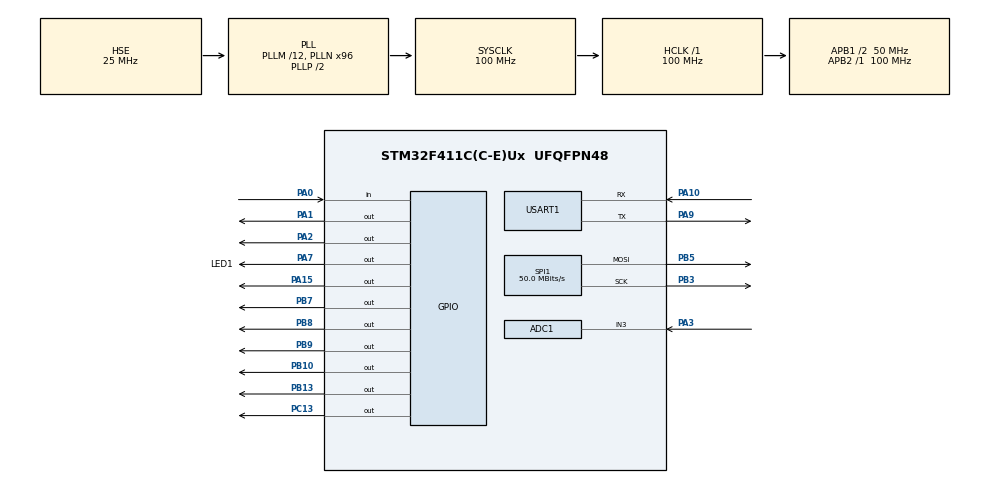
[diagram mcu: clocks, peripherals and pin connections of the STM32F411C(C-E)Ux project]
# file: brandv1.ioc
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ADC1.Channel-0\#ChannelRegularConversion=ADC_CHANNEL_3
ADC1.NbrOfConversionFlag=1
ADC1.Rank-0\#ChannelRegularConversion=1
ADC1.SamplingTime-0\#ChannelRegularConversion=ADC_SAMPLETIME_3CYCLES
ADC1.master=1
Mcu.Family=STM32F4
Mcu.Name=STM32F411C(C-E)Ux
Mcu.Package=UFQFPN48
NVIC.PriorityGroup=NVIC_PRIORITYGROUP_2
NVIC.TIM1_BRK_TIM9_IRQn=true\:2\:0\:true\:false\:true\:true\:true\:true
NVIC.USART1_IRQn=true\:2\:2\:true\:false\:true\:true\:true\:true
PA0-WKUP.GPIO_PuPd=GPIO_NOPULL
PA0-WKUP.Signal=GPIO_Input
PA1.GPIO_ModeDefaultOutputPP=GPIO_MODE_OUTPUT_OD
PA1.GPIO_PuPd=GPIO_NOPULL
PA1.PinState=GPIO_PIN_SET
PA1.Signal=GPIO_Output
PA10.Mode=Asynchronous
PA10.Signal=USART1_RX
PA13.Mode=Serial_Wire
PA13.Signal=SYS_JTMS-SWDIO
PA14.Mode=Serial_Wire
PA14.Signal=SYS_JTCK-SWCLK
PA15.PinState=GPIO_PIN_SET
PA15.Signal=GPIO_Output
PA2.GPIO_ModeDefaultOutputPP=GPIO_MODE_OUTPUT_OD
PA2.GPIO_PuPd=GPIO_NOPULL
PA2.PinState=GPIO_PIN_SET
PA2.Signal=GPIO_Output
PA3.Signal=ADCx_IN3
PA7.GPIO_Label=LED1
PA7.PinState=GPIO_PIN_SET
PA7.Signal=GPIO_Output
PA9.Mode=Asynchronous
PA9.Signal=USART1_TX
PB10.Signal=GPIO_Output
PB13.PinState=GPIO_PIN_SET
PB13.Signal=GPIO_Output
PB3.Mode=TX_Only_Simplex_Unidirect_Master
PB3.Signal=SPI1_SCK
PB5.Mode=TX_Only_Simplex_Unidirect_Master
PB5.Signal=SPI1_MOSI
PB7.PinState=GPIO_PIN_SET
PB7.Signal=GPIO_Output
PB8.GPIO_ModeDefaultOutputPP=GPIO_MODE_OUTPUT_OD
PB8.GPIO_PuPd=GPIO_NOPULL
PB8.PinState=GPIO_PIN_SET
PB8.Signal=GPIO_Output
PB9.GPIO_ModeDefaultOutputPP=GPIO_MODE_OUTPUT_OD
PB9.GPIO_PuPd=GPIO_NOPULL
PB9.PinState=GPIO_PIN_SET
PB9.Signal=GPIO_Output
PC13-ANTI_TAMP.PinState=GPIO_PIN_SET
PC13-ANTI_TAMP.Signal=GPIO_Output
PC14-OSC32_IN.Mode=LSE-External-Oscillator
PC14-OSC32_IN.Signal=RCC_OSC32_IN
PC15-OSC32_OUT.Mode=LSE-External-Oscillator
PC15-OSC32_OUT.Signal=RCC_OSC32_OUT
PH0\ -\ OSC_IN.Mode=HSE-External-Oscillator
PH0\ -\ OSC_IN.Signal=RCC_OSC_IN
PH1\ -\ OSC_OUT.Mode=HSE-External-Oscillator
PH1\ -\ OSC_OUT.Signal=RCC_OSC_OUT
ProjectManager.HeapSize=0x200
ProjectManager.StackSize=0x400
ProjectManager.TargetToolchain=MDK-ARM V5.32
RCC.48MHZClocksFreq_Value=50000000
RCC.AHBFreq_Value=100000000
RCC.APB1CLKDivider=RCC_HCLK_DIV2
RCC.APB1Freq_Value=50000000
RCC.APB1TimFreq_Value=100000000
RCC.APB2Freq_Value=100000000
RCC.APB2TimFreq_Value=100000000
RCC.CortexFreq_Value=100000000
RCC.HCLKFreq_Value=100000000
RCC.HSE_VALUE=25000000
RCC.HSI_VALUE=16000000
RCC.PLLM=12
RCC.PLLN=96
RCC.PLLSourceVirtual=RCC_PLLSOURCE_HSE
RCC.RCC_RTC_Clock_Source=RCC_RTCCLKSOURCE_LSE
RCC.SYSCLKFreq_VALUE=100000000
RCC.SYSCLKSource=RCC_SYSCLKSOURCE_PLLCLK
RCC.VCOOutputFreq_Value=200000000
SH.ADCx_IN3.0=ADC1_IN3,IN3
SPI1.CLKPhase=SPI_PHASE_2EDGE
SPI1.CLKPolarity=SPI_POLARITY_HIGH
SPI1.CalculateBaudRate=50.0 MBits/s
SPI1.Direction=SPI_DIRECTION_2LINES
SPI1.Mode=SPI_MODE_MASTER
SPI1.VirtualType=VM_MASTER
TIM9.Period=1000-1
TIM9.Prescaler=100-1
USART1.VirtualMode=VM_ASYNC
VP_RTC_VS_RTC_Activate.Mode=RTC_Enabled
VP_RTC_VS_RTC_Calendar.Mode=RTC_Calendar
VP_TIM11_VS_ClockSourceINT.Mode=Enable_Timer
VP_TIM9_VS_ClockSourceINT.Mode=Internal
board=custom

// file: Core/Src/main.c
/* USER CODE BEGIN Header */
/**
  ******************************************************************************
  * @file           : main.c
  * @brief          : Main program body
  ******************************************************************************
  * @attention
  *
  * Copyright (c) 2025 STMicroelectronics.
  * All rights reserved.
  *
  * This software is licensed under terms that can be found in the LICENSE file
  * in the root directory of this software component.
  * If no LICENSE file comes with this software, it is provided AS-IS.
  *
  ******************************************************************************
  */
/* USER CODE END Header */
#include "main.h"
#include "adc.h"
#include "rtc.h"
#include "spi.h"
#include "tim.h"
#include "usart.h"
#include "gpio.h"

void SystemClock_Config(void);

int main(void)
{

  /* MCU Configuration--------------------------------------------------------*/

  /* Reset of all peripherals, Initializes the Flash interface and the Systick. */
  HAL_Init();

  /* Configure the system clock */
  SystemClock_Config();

  /* Initialize all configured peripherals */
  MX_GPIO_Init();
  MX_USART1_UART_Init();
  MX_TIM9_Init();
  MX_ADC1_Init();
  MX_SPI1_Init();
  MX_TIM11_Init();
  MX_RTC_Init();
  /* USER CODE BEGIN 2 */
  SHT20_Init();
  OLED_Init();
  MPU6050_Init();
//  MPU6050_DMPInit();
  HP6_Init();

  HAL_TIM_Base_Start(&htim9);     // update interrupt

    UART_SendString((uint8_t *)"Enter\r\n");

    RTC_SetDateTime(&date);     // 设置默认时间

  /* USER CODE END 2 */

  /* Infinite loop */
  /* USER CODE BEGIN WHILE */
  while (1)
  {

    data_control.keyval = Get_Key_Event();     // 轮询

    switch(data_control.page_mode)
    {
        case MAIN_PAGE:     main_page();        break;
        case CLOCK_PAGE:    clock_page();       break;
        case CLOCK_SET_PAGE:Clock_Set_pate();   break;
        case TEMP_PAGE:     Sensor_page();      break;
        case MOTION_PAGE:   motion_page();      break;
        case HR_PAGE:       HeartRate_page();   break;
        case BP_PAGE:       BP_page();          break;

    }
//        switch (data_control.keyval)
//        {
//            case KEY_EVENT_UP_PRESS:    printf("上\r\n"); break;
//            case KEY_EVENT_DOWN_PRESS:  printf("下\r\n"); break;
//            case KEY_EVENT_LEFT_PRESS:  printf("左\r\n"); break;
//            case KEY_EVENT_RIGHT_PRESS: printf("右\r\n"); break;
//
//            case KEY_EVENT_CENTER_CLICK:    printf("单击\r\n"); break;
//            case KEY_EVENT_CENTER_DOUBLE:   printf("双击\r\n"); break;
//            case KEY_EVENT_CENTER_LONG:     printf("长按\r\n"); break;
//
//            default: break;
//        }

    /* USER CODE END WHILE */

  }
}

void SystemClock_Config(void)
{
  RCC_OscInitTypeDef RCC_OscInitStruct = {0};
  RCC_ClkInitTypeDef RCC_ClkInitStruct = {0};

  /** Configure the main internal regulator output voltage
  */
  __HAL_RCC_PWR_CLK_ENABLE();
  __HAL_PWR_VOLTAGESCALING_CONFIG(PWR_REGULATOR_VOLTAGE_SCALE1);

  /** Initializes the RCC Oscillators according to the specified parameters
  * in the RCC_OscInitTypeDef structure.
  */
  RCC_OscInitStruct.OscillatorType = RCC_OSCILLATORTYPE_HSE|RCC_OSCILLATORTYPE_LSE;
  RCC_OscInitStruct.HSEState = RCC_HSE_ON;
  RCC_OscInitStruct.LSEState = RCC_LSE_ON;
  RCC_OscInitStruct.PLL.PLLState = RCC_PLL_ON;
  RCC_OscInitStruct.PLL.PLLSource = RCC_PLLSOURCE_HSE;
  RCC_OscInitStruct.PLL.PLLM = 12;
  RCC_OscInitStruct.PLL.PLLN = 96;
  RCC_OscInitStruct.PLL.PLLP = RCC_PLLP_DIV2;
  RCC_OscInitStruct.PLL.PLLQ = 4;
  if (HAL_RCC_OscConfig(&RCC_OscInitStruct) != HAL_OK)
  {
    Error_Handler();
  }

  /** Initializes the CPU, AHB and APB buses clocks
  */
  RCC_ClkInitStruct.ClockType = RCC_CLOCKTYPE_HCLK|RCC_CLOCKTYPE_SYSCLK
                              |RCC_CLOCKTYPE_PCLK1|RCC_CLOCKTYPE_PCLK2;
  RCC_ClkInitStruct.SYSCLKSource = RCC_SYSCLKSOURCE_PLLCLK;
  RCC_ClkInitStruct.AHBCLKDivider = RCC_SYSCLK_DIV1;
  RCC_ClkInitStruct.APB1CLKDivider = RCC_HCLK_DIV2;
  RCC_ClkInitStruct.APB2CLKDivider = RCC_HCLK_DIV1;

  if (HAL_RCC_ClockConfig(&RCC_ClkInitStruct, FLASH_LATENCY_3) != HAL_OK)
  {
    Error_Handler();
  }
}

void Error_Handler(void)
{
  __disable_irq();
  while (1)
  {
  }
}
